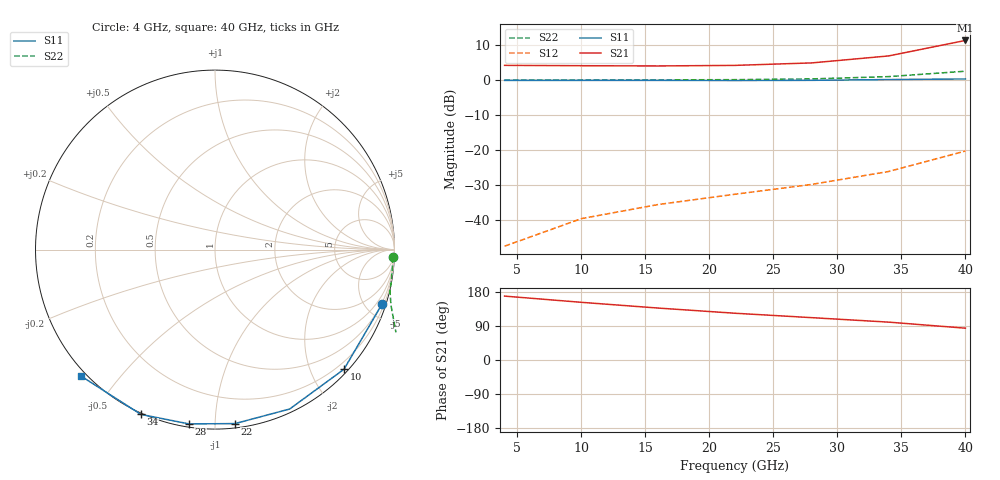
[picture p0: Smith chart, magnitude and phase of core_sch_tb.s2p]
# GHz S RI R 50
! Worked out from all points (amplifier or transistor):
!   7 points, 4 GHz to 40 GHz, reference 50 ohm
!   highest |S21| = 11.2 dB at 40 GHz (marker M1)
!   |S21| within 3 dB of that: 35.92 GHz to end of sweep
!   unconditionally stable (mu >= 1): nowhere
!   at 10 GHz: K = 0.11, MSG = 21.8 dB, |S12| = -39.6 dB
!   at 22 GHz: K = 0.21, MSG = 18.4 dB, |S12| = -32.6 dB
!   at 40 GHz: K = 0.42, MSG = 15.8 dB, |S12| = -20.3 dB
!   S11 on the Smith chart (normalised r, x): 4 GHz: 0.42, -6.32; 10 GHz: 0.07, -2.55; 22 GHz: 0.03, -1.12; 28 GHz: 0.02, -0.86; 34 GHz: -0.00, -0.65; 40 GHz: -0.02, -0.40
4  0.9322 -0.3012  -1.572 0.3169  0.000861 0.00416  0.9923 -0.0426
10  0.7186 -0.6668  -1.402 0.7395  0.00463 0.00942  0.9885 -0.1024
16  0.416 -0.8882  -1.151 1.072  0.0107 0.0128  0.9832 -0.1665
22  0.1115 -0.9694  -0.8818 1.338  0.0184 0.0143  0.9749 -0.2351
28  -0.1452 -0.9712  -0.6439 1.615  0.0286 0.0149  0.9806 -0.3109
34  -0.4129 -0.9181  -0.377 2.153  0.0471 0.0144  1.008 -0.4612
40  -0.7463 -0.7047  0.3822 3.611  0.0963 0.00386  1.028 -0.8332
